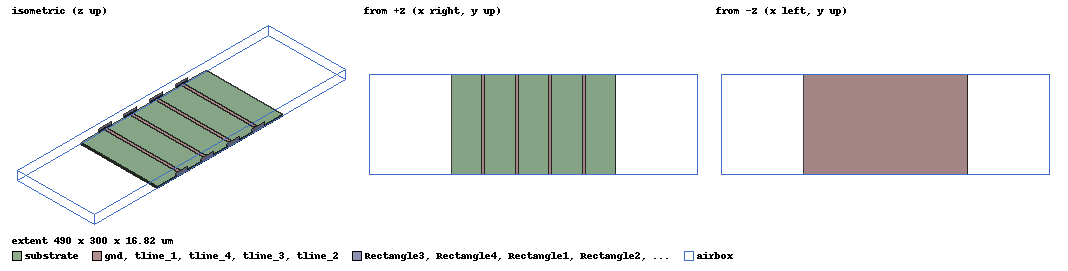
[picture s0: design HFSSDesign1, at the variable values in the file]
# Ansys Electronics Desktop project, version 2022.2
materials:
  vacuum: permittivity=1
  copper: permeability=0.999991 conductivity=58000000
  FR4_epoxy: permittivity=4.4 dielectric_loss_tangent=0.02
  air: permittivity=1.0006 permeability=1.0000004

design HFSSDesign1 (HFSS, DrivenModal, model units um)
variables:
  microstrip_L = 300um
  microstrip_W = 10um
  microstrip_H = 1.26um
  microstrip_gap = 90um
  substrate_H = 3.365um
  gnd_H = 2.0061um
  substrate_W = 490um
  waveport_W = 5*microstrip_W
  waveport_H = 5*substrate_H
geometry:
  substrate [FR4_epoxy] = box(corner=(0um, 0um, 0um), size=(substrate_W, microstrip_L, substrate_H))
  gnd [copper] = box(corner=(0um, 0um, 0um), size=(substrate_W, microstrip_L, -gnd_H))
  tline_4 [copper] = box(corner=(microstrip_gap, 0um, substrate_H), size=(microstrip_W, microstrip_L, microstrip_H))
  tline_3 [copper] = box(corner=((2*microstrip_gap)+microstrip_W, 0, substrate_H), size=(microstrip_W, microstrip_L, microstrip_H))
  tline_2 [copper] = box(corner=((3*microstrip_gap)+(2*microstrip_W), 0um, substrate_H), size=(microstrip_W, microstrip_L, microstrip_H))
  tline_1 [copper] = box(corner=((4*microstrip_gap)+(3*microstrip_W), 0um, substrate_H), size=(microstrip_W, microstrip_L, microstrip_H))
  airbox [air] = box(corner=(-substrate_W/2, 0um, -gnd_H), size=(2*substrate_W, microstrip_L, 10*substrate_H))
  Rectangle1 = rectangle(corner=(2*(microstrip_gap)+(1.5*microstrip_W)-(waveport_W/2), 0um, -gnd_H), z_size=waveport_H, x_size=waveport_W)
  Rectangle2 = rectangle(corner=(2*(microstrip_gap)+(1.5*microstrip_W)-(waveport_W/2), microstrip_L, -gnd_H), z_size=waveport_H, x_size=waveport_W)
  Rectangle3 = rectangle(corner=(3*microstrip_gap+2.5*microstrip_W-.5*waveport_W, 0um, -gnd_H), z_size=waveport_H, x_size=waveport_W)
  Rectangle4 = rectangle(corner=(3*microstrip_gap+2.5*microstrip_W-.5*waveport_W, microstrip_L, -gnd_H), z_size=waveport_H, x_size=waveport_W)
  Rectangle5 = rectangle(corner=(microstrip_gap+.5*microstrip_W-.5*waveport_W, 0um, -gnd_H), z_size=waveport_H, x_size=waveport_W)
  Rectangle6 = rectangle(corner=(microstrip_gap+.5*microstrip_W-.5*waveport_W, microstrip_L, -gnd_H), z_size=waveport_H, x_size=waveport_W)
  Rectangle7 = rectangle(corner=(4*microstrip_gap+3.5*microstrip_W-.5*waveport_W, 0um, -gnd_H), z_size=waveport_H, x_size=waveport_W)
  Rectangle8 = rectangle(corner=(4*microstrip_gap+3.5*microstrip_W-.5*waveport_W, microstrip_L, -gnd_H), z_size=waveport_H, x_size=waveport_W)
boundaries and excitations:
  1: Wave Port Objects=Rectangle2 NumModes=1 Modes{Mode1{CharImp=Zpi RenormImp=50ohm}}
  2: Wave Port Objects=Rectangle1 NumModes=1 Modes{Mode1{CharImp=Zpi RenormImp=50ohm}}
  3: Wave Port Objects=Rectangle3 NumModes=1 Modes{Mode1{CharImp=Zpi RenormImp=50ohm}}
  4: Wave Port Objects=Rectangle4 NumModes=1 Modes{Mode1{CharImp=Zpi RenormImp=50ohm}}
  5: Wave Port Objects=Rectangle5 NumModes=1 Modes{Mode1{CharImp=Zpi RenormImp=50ohm}}
  6: Wave Port Objects=Rectangle6 NumModes=1 Modes{Mode1{CharImp=Zpi RenormImp=50ohm}}
  7: Wave Port Objects=Rectangle7 NumModes=1 Modes{Mode1{CharImp=Zpi RenormImp=50ohm}}
  8: Wave Port Objects=Rectangle8 NumModes=1 Modes{Mode1{CharImp=Zpi RenormImp=50ohm}}
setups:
  Setup1: HfssDriven MultipleAdaptiveFreqsSetup{Low=10GHz High=30GHz} MaxDeltaS=0.02 MaximumPasses=20 MinimumPasses=1 MinimumConvergedPasses=2 PercentRefinement=30 BasisOrder=0 PortAccuracy=2 DrivenSolverType="Direct Solver"
    sweep Sweep: 10GHz to 30GHz, 129 points; Type=Interpolating InterpTolerance=0.5 InterpMaxSolns=250 InterpUsePortImped=false PassivityErrorTolerance=0.0001
  Setup2: HfssDriven MultipleAdaptiveFreqsSetup{Low=10GHz High=30GHz} MaxDeltaS=0.02 MaximumPasses=20 MinimumPasses=1 MinimumConvergedPasses=2 PercentRefinement=30 BasisOrder=0 PortAccuracy=2 DrivenSolverType="Direct Solver"
    sweep Sweep: 10GHz to 30GHz, 129 points; Type=Interpolating InterpTolerance=0.5 InterpMaxSolns=250 InterpUsePortImped=false PassivityErrorTolerance=0.0001
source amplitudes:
  1:1: 1W 0deg
  2:1, 3:1, 4:1, 5:1, 6:1, 7:1, 8:1: 0W 0deg
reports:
  s-parameters: dB(S(1,1)), dB(S(2,1)), dB(S(1,2)), dB(S(2,2)), dB(S(3,3)), dB(S(4,3)), dB(S(3,4)), dB(S(4,4)) vs Freq on Setup1 : Sweep
